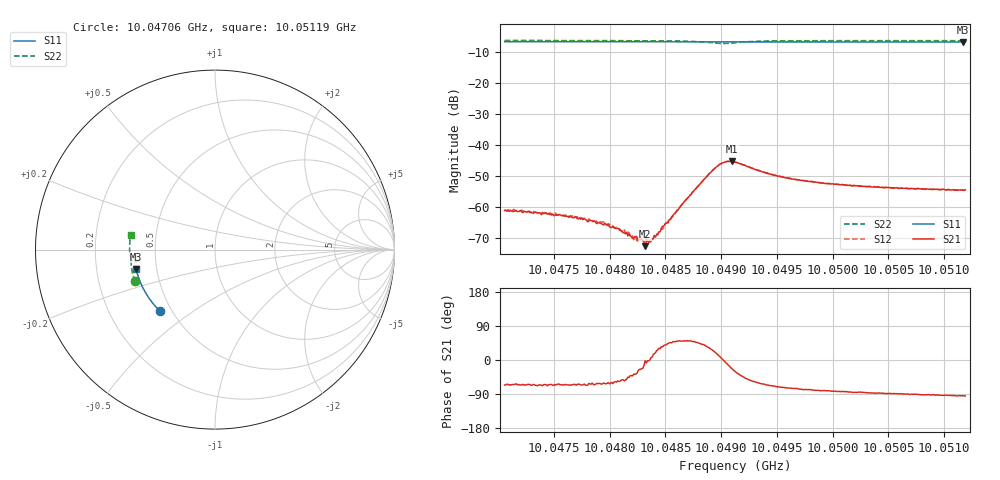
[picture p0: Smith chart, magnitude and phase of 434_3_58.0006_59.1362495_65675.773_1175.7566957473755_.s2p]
#  HZ  S  RI  R  50.00
! Rohde & Schwarz Vector Network Analyzer
! Rohde-Schwarz,ZNB20-2Port,1311601062101988,3.16
! Created: UTC 3/21/2024, 1:09:47 AM
! freq[Hz]  re:S11  im:S11  re:S21  im:S21  re:S12  im:S12  re:S22  im:S22
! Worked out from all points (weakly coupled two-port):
!   401 points, 10.04706 GHz to 10.05119 GHz, reference 50 ohm
!   highest |S21| = -45.31 dB at 10.04909 GHz (marker M1); lowest = -72.6 dB at 10.04832 GHz (marker M2)
!   lowest |S11| = -6.9 dB at 10.05117 GHz (marker M3), VSWR 2.65, Z = 19.1 - j5.17 ohm
!   |S11| at or under -10 dB: nowhere
!   |S22| runs from -7.4 to -6.4 dB; largest |S21 - S12| = 0.00039
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1.0047059e10  -0.309 -0.3398  0.000355 -0.000798  0.000445 -0.000786  -0.4461 -0.1764
1.0047431e10  -0.3261 -0.3224  0.00034 -0.000732  0.000382 -0.000669  -0.454 -0.1525
1.0047751e10  -0.3401 -0.3065  0.000265 -0.000604  0.000323 -0.000581  -0.4598 -0.1311
1.0047926e10  -0.3474 -0.2974  0.000237 -0.000486  0.000322 -0.000469  -0.4626 -0.1187
1.0047978e10  -0.3496 -0.2949  0.000239 -0.000444  0.000273 -0.000439  -0.4634 -0.115
1.0048092e10  -0.3543 -0.2889  0.000234 -0.000349  0.000264 -0.000352  -0.4647 -0.1069
1.0048143e10  -0.3563 -0.2863  0.000228 -0.000296  0.000254 -0.000276  -0.4654 -0.1031
1.0048236e10  -0.36 -0.2815  0.000269 -0.000202  0.000284 -0.000151  -0.4662 -0.096
1.0048319e10  -0.3631 -0.2771  0.000234 -7.43e-06  0.000282 -5.5e-05  -0.4669 -0.0895
1.0048339e10  -0.3641 -0.2759  0.000292 -1.14e-05  0.000273 -1.85e-05  -0.467 -0.0879
1.004837e10  -0.3651 -0.2742  0.000277 3.04e-05  0.000281 5.47e-05  -0.4671 -0.0854
1.0048443e10  -0.3679 -0.2704  0.00034 0.000204  0.000347 0.000207  -0.4672 -0.0793
1.004867e10  -0.3761 -0.2579  0.000775 0.000945  0.000723 0.000978  -0.464 -0.0581
1.0048918e10  -0.3846 -0.2438  0.00337 0.0017  0.00329 0.00193  -0.4393 -0.0381
1.0049011e10  -0.3873 -0.2388  0.0051 0.000244  0.00511 0.000517  -0.4254 -0.0491
1.0049093e10  -0.39 -0.2342  0.00502 -0.00206  0.00516 -0.0017  -0.4298 -0.0651
1.0049124e10  -0.3911 -0.2324  0.00456 -0.00266  0.00475 -0.00236  -0.435 -0.0685
1.0049486e10  -0.4025 -0.2116  0.00113 -0.00302  0.0013 -0.00297  -0.4699 -0.0438
1.0049816e10  -0.4116 -0.1918  0.00049 -0.00251  0.000647 -0.00251  -0.4752 -0.0161
1.0050508e10  -0.4278 -0.1495  5.98e-05 -0.00207  0.000181 -0.00201  -0.4751 0.0338
1.0051169e10  -0.439 -0.1078  -0.000141 -0.00185  -2.43e-05 -0.00186  -0.4698 0.0784
1.005119e10  -0.4395 -0.1065  -0.00017 -0.00188  -5.44e-05 -0.00186  -0.4695 0.0797
